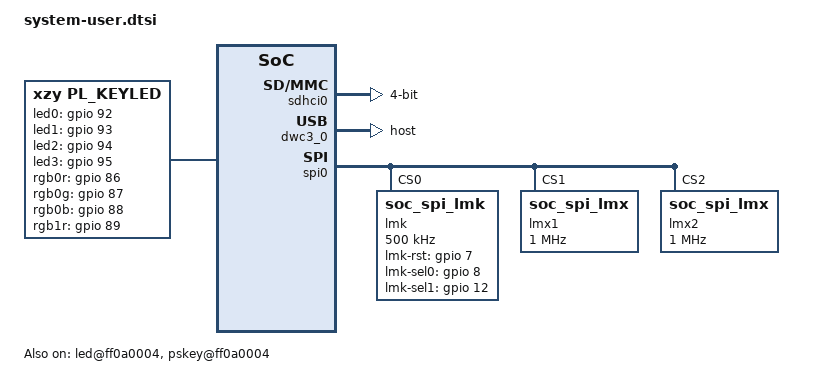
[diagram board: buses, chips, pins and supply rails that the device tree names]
/include/ "system-conf.dtsi"
#include <dt-bindings/interrupt-controller/irq.h>
#include <dt-bindings/gpio/gpio.h>
#include "pl.dtsi"
/ {
    led@ff0a0004{
        compatible = "realdigital,led";
        status = "okay";
        default-state = "on";
        led-gpio = <&gpio 20 1>;//引用gpio控制器，mio20,高电平有效
    };
    
    pskey@ff0a0004{
        compatible = "realdigital,pskey";
        status = "okay";
        pskey-gpio = <&gpio 23 GPIO_ACTIVE_HIGH>;//引用gpio控制器，mio23,高电平有效
        interrupt-parent = <&gpio>;
        interrupts = <23 IRQ_TYPE_EDGE_RISING>;
    };
    // sgdma0: sgdma0 {
    //     compatible = "xzy,axidma";
    //     //即使只有一个DMA通道，dmas属性中也需要保持0对应mm2s和1对应s2mm
    //     dmas = <&axi_dma_0 0>, <&axi_dma_0 1>;
    //     dma-names = "axidmamm2s", "axidmas2mm";
    //     dma-coherent;
    // };
    pl_keyled: pl_keyled {
        compatible = "xzy,pl_keyled";
        status = "okay";
        led0-gpios = <&gpio 92 GPIO_ACTIVE_HIGH>;
        led1-gpios = <&gpio 93 GPIO_ACTIVE_HIGH>;
        led2-gpios = <&gpio 94 GPIO_ACTIVE_HIGH>;
        led3-gpios = <&gpio 95 GPIO_ACTIVE_HIGH>;
        rgb0r-gpios = <&gpio 86 GPIO_ACTIVE_HIGH>;
        rgb0g-gpios = <&gpio 87 GPIO_ACTIVE_HIGH>;
        rgb0b-gpios = <&gpio 88 GPIO_ACTIVE_HIGH>;
        rgb1r-gpios = <&gpio 89 GPIO_ACTIVE_HIGH>;
        rgb1g-gpios = <&gpio 90 GPIO_ACTIVE_HIGH>;
        rgb1b-gpios = <&gpio 91 GPIO_ACTIVE_HIGH>;
        pb0-gpios = <&gpio 82 GPIO_ACTIVE_HIGH>;
        pb1-gpios = <&gpio 83 GPIO_ACTIVE_HIGH>;
        pb2-gpios = <&gpio 84 GPIO_ACTIVE_HIGH>;
        pb3-gpios = <&gpio 85 GPIO_ACTIVE_HIGH>;
        sw0-gpios = <&gpio 78 GPIO_ACTIVE_HIGH>;
        sw1-gpios = <&gpio 79 GPIO_ACTIVE_HIGH>;
        sw2-gpios = <&gpio 80 GPIO_ACTIVE_HIGH>;
        sw3-gpios = <&gpio 81 GPIO_ACTIVE_HIGH>;
        /* 为 pb0-3 添加中断 (顺序: pb0 pb1 pb2 pb3) */
        interrupt-parent = <&gpio>;
        interrupts = <82 IRQ_TYPE_EDGE_RISING>,
                    <83 IRQ_TYPE_EDGE_RISING>,
                    <84 IRQ_TYPE_EDGE_RISING>,
                    <85 IRQ_TYPE_EDGE_RISING>;
    };

};


&sdhci0 { 
    status = "okay"; 
    disable-wp; 
    no-1-8-v; 
    bus-width = <4>;
}; 

/* USB */
&dwc3_0{
	status = "okay";
	dr_mode = "host";
};
	
&gpio {
	status = "okay";
};

&spi0 {
    status = "okay";
    is-decoded-cs = <0>; /* 使用控制器的自动片选 */
    num-cs = <3>;         /* 总共 3 个片选 */

    lmk@0 {
        compatible = "soc_spi_lmk";
        reg = <0>; /* 使用 CS0 */
        spi-max-frequency = <500000>;
        label = "lmk";
        lmk-rst = <&gpio 7 GPIO_ACTIVE_HIGH>; /* 复位引脚 */
        lmk-sel0 = <&gpio 8 GPIO_ACTIVE_HIGH>; /* SEL0 引脚 */
        lmk-sel1 = <&gpio 12 GPIO_ACTIVE_HIGH>; /* SEL1 引脚 */
    };

    lmx1@1 {
        compatible = "soc_spi_lmx";
        reg = <1>; /* 使用 CS1 */
        spi-max-frequency = <1000000>;
        label = "lmx1";
    };

    lmx2@2 {
        compatible = "soc_spi_lmx";
        reg = <2>; /* 使用 CS2 */
        spi-max-frequency = <1000000>;
        label = "lmx2";
    };
};
